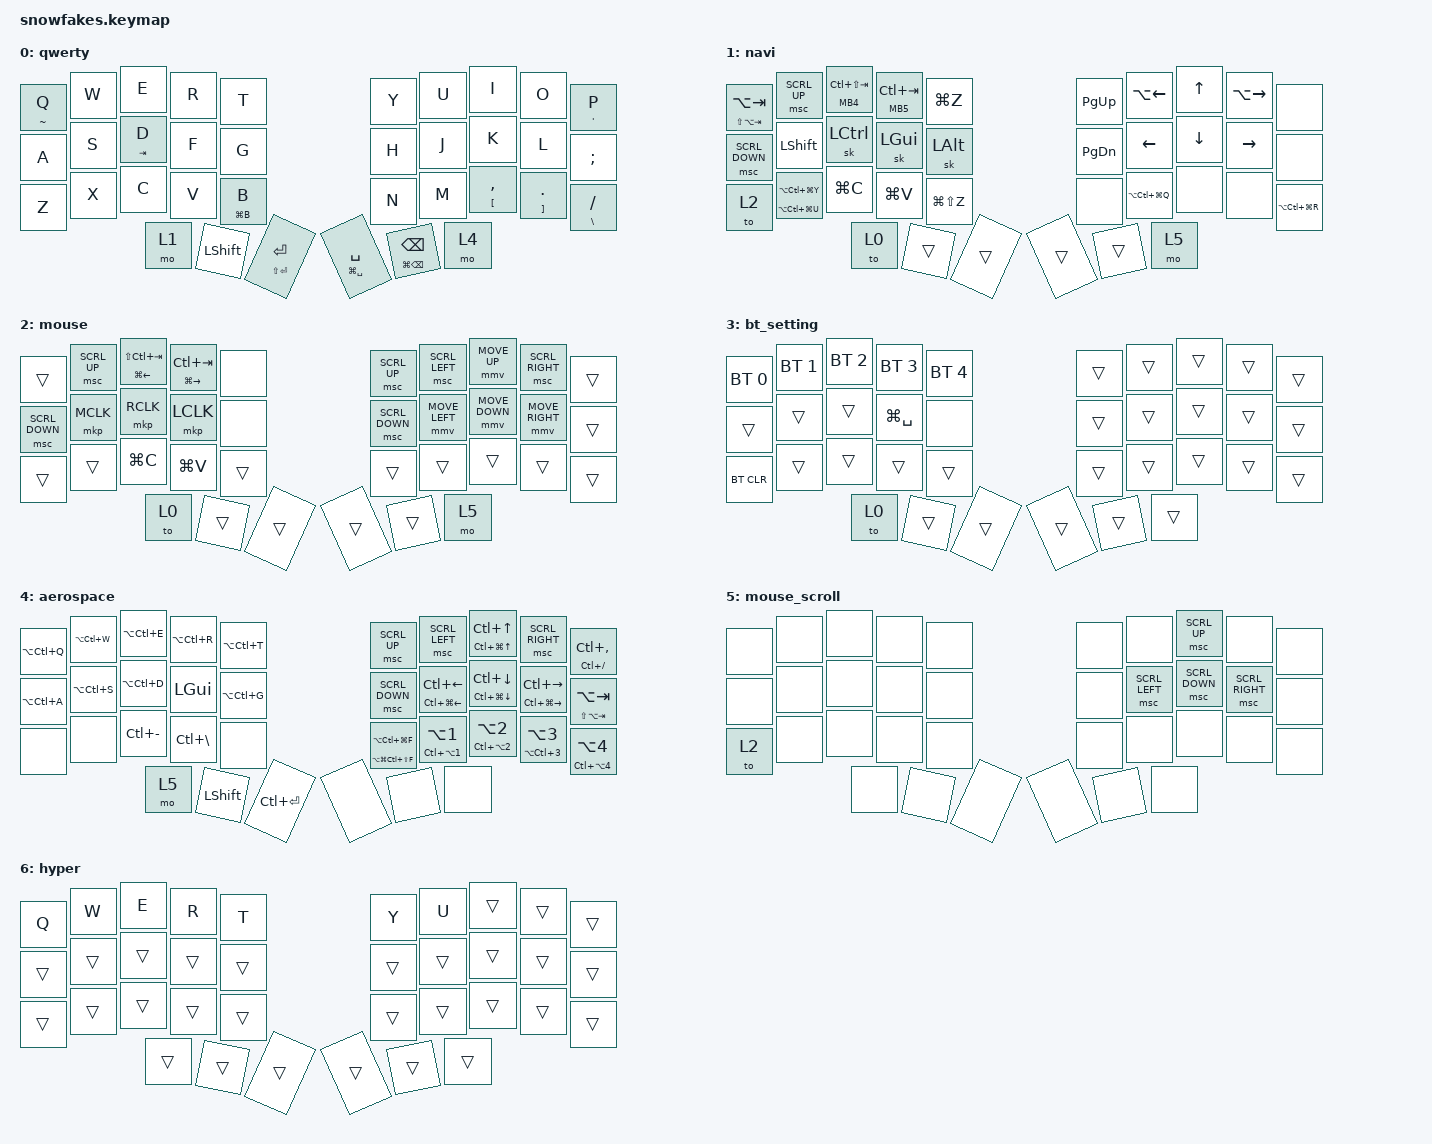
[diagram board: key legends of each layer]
// SPDX-License-Identifier: MIT
// Copyright 2025 saikocat (@saikocat)

#include <behaviors/rgbled_widget.dtsi>

#define ZMK_POINTING_DEFAULT_MOVE_VAL 1500
#define ZMK_POINTING_DEFAULT_SCRL_VAL 20

#include <behaviors.dtsi>
#include <dt-bindings/zmk/bt.h>
#include <dt-bindings/zmk/keys.h>
#include <dt-bindings/zmk/pointing.h>

/ {
    combos {
        compatible = "zmk,combos";

        combo_esc {
            timeout-ms = <25>;
            key-positions = <1 10>;
            bindings = <&kp ESC>;
        };

        combo_bt_setting {
            timeout-ms = <50>;
            bindings = <&to 3>;
            key-positions = <32 31 24>;
        };

        combo_playpause {
            timeout-ms = <25>;
            bindings = <&kp C_PP>;
            key-positions = <4 5>;
        };

        combo_bracket_left {
            timeout-ms = <20>;
            bindings = <&kp LEFT_PARENTHESIS>;
            key-positions = <7 6>;
        };

        combo_bracket_right {
            timeout-ms = <20>;
            bindings = <&kp RIGHT_PARENTHESIS>;
            key-positions = <7 8>;
        };

        combo_vol_up {
            timeout-ms = <25>;
            bindings = <&kp C_VOLUME_UP>;
            key-positions = <22 23>;
        };

        combo_vol_down {
            timeout-ms = <25>;
            bindings = <&kp C_VOLUME_DOWN>;
            key-positions = <21 20>;
        };

        combo_vol_mute {
            timeout-ms = <25>;
            bindings = <&kp C_MUTE>;
            key-positions = <21 22>;
        };

        combo_plus {
            timeout-ms = <20>;
            bindings = <&kp PLUS>;
            key-positions = <29 19>;
        };

        combo_minus {
            timeout-ms = <20>;
            bindings = <&kp MINUS>;
            key-positions = <19 18>;
        };

        combo_equal {
            timeout-ms = <20>;
            bindings = <&kp EQUAL>;
            key-positions = <29 28>;
        };

        combo_no1 {
            timeout-ms = <35>;
            bindings = <&kp NUMBER_1>;
            key-positions = <34 26>;
        };

        combo_no2 {
            timeout-ms = <35>;
            bindings = <&kp NUMBER_2>;
            key-positions = <34 27>;
        };

        combo_no3 {
            timeout-ms = <35>;
            bindings = <&kp NUMBER_3>;
            key-positions = <34 28>;
        };

        combo_no4 {
            timeout-ms = <35>;
            bindings = <&kp NUMBER_4>;
            key-positions = <34 16>;
        };

        combo_no5 {
            timeout-ms = <35>;
            bindings = <&kp N5>;
            key-positions = <34 17>;
        };

        combo_no6 {
            timeout-ms = <35>;
            bindings = <&kp NUMBER_6>;
            key-positions = <34 18>;
        };

        combo_no7 {
            timeout-ms = <35>;
            bindings = <&kp N7>;
            key-positions = <34 6>;
        };

        combo_no8 {
            timeout-ms = <35>;
            bindings = <&kp N8>;
            key-positions = <34 7>;
        };

        combo_no9 {
            timeout-ms = <35>;
            bindings = <&kp N9>;
            key-positions = <34 8>;
        };

        combo_no0 {
            timeout-ms = <35>;
            bindings = <&kp N0>;
            key-positions = <34 19>;
        };

        combo_paste {
            timeout-ms = <25>;
            bindings = <&kp LG(V)>;
            key-positions = <1 3>;
        };

        combo_copy {
            timeout-ms = <25>;
            bindings = <&kp LG(C)>;
            key-positions = <3 2>;
        };

        combo_track_prev {
            timeout-ms = <25>;
            bindings = <&kp C_PREV>;
            key-positions = <20 21 22>;
        };

        combo_track_next {
            timeout-ms = <25>;
            bindings = <&kp C_NEXT>;
            key-positions = <21 22 23>;
        };

        combo_change_lang {
            timeout-ms = <25>;
            bindings = <&kp LC(SPACE)>;
            key-positions = <13 14 15 16>;
        };

        combo_moom_toggle {
            timeout-ms = <25>;
            bindings = <&kp LA(LC(LG(E)))>;
            key-positions = <1 11>;
        };

        combo_backspace {
            timeout-ms = <35>;
            bindings = <&kp BACKSPACE>;
            key-positions = <10 11 12 13>;
        };

        combo_mouseclick_left {
            timeout-ms = <15>;
            bindings = <&mkp LCLK>;
            key-positions = <3 13>;
        };

        combo_mouseclick_right {
            timeout-ms = <15>;
            bindings = <&mkp RCLK>;
            key-positions = <2 12>;
        };

        combo_mouseclick_middle {
            timeout-ms = <15>;
            bindings = <&mkp MCLK>;
            key-positions = <11 12 13>;
        };

        combo_change_lang_android {
            timeout-ms = <35>;
            bindings = <&kp LG(SPACE)>;
            key-positions = <3 4 5 6>;
        };

        combo_homerow_scroll {
            timeout-ms = <25>;
            bindings = <&kp LG(LC(LA(T)))>;
            key-positions = <8 19>;
        };

        combo_homerow_search {
            timeout-ms = <25>;
            bindings = <&kp LG(LC(LA(W)))>;
            key-positions = <6 16>;
        };

        combo_skmr {
            bindings = <&macro_skmr>;
            key-positions = <31 23 34 26>;
        };

        combo_alt_backspace {
            bindings = <&kp LA(BACKSPACE)>;
            key-positions = <18 17 16>;
        };

        combo_backspace2 {
            bindings = <&kp BACKSPACE>;
            key-positions = <7 8 9>;
        };

        combo_cmd_backspace {
            bindings = <&kp LG(BACKSPACE)>;
            key-positions = <19 18 16 17>;
        };

        combo_mouseclick_double {
            bindings = <&macro_doubleclick>;
            key-positions = <0 10>;
        };
    };

    behaviors {
        gqt: gqt {
            compatible = "zmk,behavior-hold-tap";
            label = "GQT";
            bindings = <&kp>, <&kp>;

            #binding-cells = <2>;
            tapping-term-ms = <200>;
            flavor = "tap-preferred";
        };

        gqt_mkp: gqt_mkp {
            compatible = "zmk,behavior-hold-tap";
            label = "GQT_MKP";
            bindings = <&mkp>, <&kp>;

            #binding-cells = <2>;
            tapping-term-ms = <180>;
            flavor = "tap-preferred";
        };

        mod_tap: mod_tap {
            compatible = "zmk,behavior-hold-tap";
            label = "MOD_TAP";
            bindings = <&kp>, <&kp>;

            #binding-cells = <2>;
            tapping-term-ms = <250>;
            flavor = "tap-preferred";
        };
    };

    macros {
        macro_skmr: macro_skmr {
            compatible = "zmk,behavior-macro";
            #binding-cells = <0>;
            bindings = <&none &kp LS(I) &kp SPACE &kp F &kp E &kp E &kp L &kp SPACE &kp L &kp I &kp K &kp E &kp SPACE &kp W &kp E &kp SPACE &kp H &kp A &kp V &kp E &kp SPACE &kp G &kp O &kp N &kp E &kp SPACE &kp P &kp A &kp S &kp T &kp SPACE &kp S &kp O &kp C &kp I &kp A &kp L &kp SPACE &kp N &kp O &kp R &kp M &kp S &kp SPACE &kp H &kp A &kp H &kp H &kp A &kp A &kp H &kp A &kp H &kp H &kp H>;
            label = "MACRO_SKMR";
        };

        macro_doubleclick: macro_doubleclick {
            compatible = "zmk,behavior-macro";
            #binding-cells = <0>;
            bindings =
                <&mkp LCLK>,
                <&macro_release>,
                <&mkp LCLK>,
                <&macro_release>;

            label = "MACRO_DOUBLECLICK";
        };
    };

    keymap {
        compatible = "zmk,keymap";

        layer_base {
            display-name = "qwerty";
            bindings = <
&gqt TILDE Q  &kp W  &kp E       &kp R       &kp T                 &kp Y                 &kp U                         &kp I                    &kp O                      &gqt SQT P
&kp A         &kp S  &gqt TAB D  &kp F       &kp G                 &kp H                 &kp J                         &kp K                    &kp L                      &kp SEMICOLON
&kp Z         &kp X  &kp C       &kp V       &gqt LG(B) B          &kp N                 &kp M                         &gqt LEFT_BRACKET COMMA  &gqt RIGHT_BRACKET PERIOD  &gqt BACKSLASH SLASH
                     &mo 1       &kp LSHIFT  &gqt LS(ENTER) ENTER  &gqt LG(SPACE) SPACE  &gqt LG(BACKSPACE) BACKSPACE  &mo 4
            >;
        };

        navi {
            bindings = <
&gqt LS(LA(TAB)) LA(TAB)  &msc SCRL_UP                      &gqt_mkp MB4 LC(LS(TAB))  &gqt_mkp MB5 LC(TAB)  &kp LG(Z)      &kp PAGE_UP    &kp LA(LEFT)       &kp UP_ARROW  &kp LA(RIGHT)  &none
&msc SCRL_DOWN            &kp LEFT_SHIFT                    &sk LEFT_CONTROL          &sk LEFT_GUI          &sk LEFT_ALT   &kp PAGE_DOWN  &kp LEFT           &kp DOWN      &kp RIGHT      &none
&to 2                     &gqt LA(LC(LG(U))) LA(LC(LG(Y)))  &kp LG(C)                 &kp LG(V)             &kp LG(LS(Z))  &none          &kp LA(LC(LG(Q)))  &none         &none          &kp LA(LC(LG(R)))
                                                            &to 0                     &trans                &trans         &trans         &trans             &mo 5
            >;
        };

        mouse {
            bindings = <
&trans          &msc SCRL_UP  &gqt LG(LEFT) LS(LC(TAB))  &gqt LG(RIGHT) LC(TAB)  &none   &msc SCRL_UP    &msc SCRL_LEFT  &mmv MOVE_UP    &msc SCRL_RIGHT  &trans
&msc SCRL_DOWN  &mkp MCLK     &mkp RCLK                  &mkp LCLK               &none   &msc SCRL_DOWN  &mmv MOVE_LEFT  &mmv MOVE_DOWN  &mmv MOVE_RIGHT  &trans
&trans          &trans        &kp LG(C)                  &kp LG(V)               &trans  &trans          &trans          &trans          &trans           &trans
                              &to 0                      &trans                  &trans  &trans          &trans          &mo 5
            >;
        };

        bt_setting {
            bindings = <
&bt BT_SEL 0  &bt BT_SEL 1  &bt BT_SEL 2  &bt BT_SEL 3   &bt BT_SEL 4  &trans  &trans  &trans  &trans  &trans
&trans        &trans        &trans        &kp LG(SPACE)  &none         &trans  &trans  &trans  &trans  &trans
&bt BT_CLR    &trans        &trans        &trans         &trans        &trans  &trans  &trans  &trans  &trans
                            &to 0         &trans         &trans        &trans  &trans  &trans
            >;
        };

        aerospace {
            bindings = <
&kp LA(LC(Q))  &kp LA(LC(W))  &kp LA(LC(E))  &kp LA(LC(R))      &kp LA(LC(T))  &msc SCRL_UP                          &msc SCRL_LEFT                      &gqt LC(LG(UP_ARROW)) LC(UP_ARROW)  &msc SCRL_RIGHT                     &gqt LC(SLASH) LC(COMMA)
&kp LA(LC(A))  &kp LA(LC(S))  &kp LA(LC(D))  &kp LEFT_GUI       &kp LA(LC(G))  &msc SCRL_DOWN                        &gqt LC(LG(LEFT)) LC(LEFT_ARROW)    &gqt LC(LG(DOWN)) LC(DOWN)          &gqt LC(LG(RIGHT)) LC(RIGHT)        &gqt LS(LA(TAB)) LA(TAB)
&none          &none          &kp LC(MINUS)  &kp LC(BACKSLASH)  &none          &gqt LA(LG(LC(LS(F)))) LA(LC(LG(F)))  &gqt LC(LA(NUMBER_1)) LA(NUMBER_1)  &gqt LC(LA(NUMBER_2)) LA(NUMBER_2)  &gqt LA(LC(NUMBER_3)) LA(NUMBER_3)  &gqt LC(LA(NUMBER_4)) LA(NUMBER_4)
                              &mo 5          &kp LEFT_SHIFT     &kp LC(ENTER)  &none                                 &none                               &none
            >;
        };

        mouse_scroll {
            bindings = <
&none  &none  &none  &none  &none  &none  &none           &msc SCRL_UP    &none            &none
&none  &none  &none  &none  &none  &none  &msc SCRL_LEFT  &msc SCRL_DOWN  &msc SCRL_RIGHT  &none
&to 2  &none  &none  &none  &none  &none  &none           &none           &none            &none
              &none  &none  &none  &none  &none           &none
            >;
        };

        hyper {
            bindings = <
&kp Q   &kp W   &kp E   &kp R   &kp T   &kp Y   &kp U   &trans  &trans  &trans
&trans  &trans  &trans  &trans  &trans  &trans  &trans  &trans  &trans  &trans
&trans  &trans  &trans  &trans  &trans  &trans  &trans  &trans  &trans  &trans
                &trans  &trans  &trans  &trans  &trans  &trans
            >;
        };
    };
};

// vim: ft=dts et
